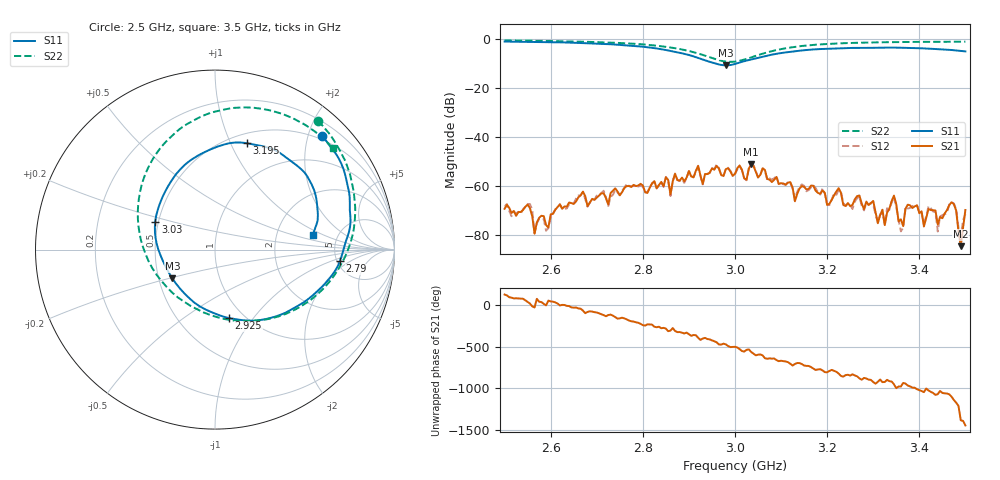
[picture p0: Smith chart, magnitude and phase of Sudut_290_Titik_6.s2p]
# Hz S RI R 50
! CMT, C1220, 16058040, 17.2.0/1
! Date: 15/08/2018 10:19:45
! Data: Format (Calibration Info)
! Freq  S11: Re/Im (F2)  S21: Re/Im (F2)  S12: Re/Im (F2)  S22: Re/Im (F2)
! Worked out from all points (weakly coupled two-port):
!   201 points, 2.5 GHz to 3.5 GHz, reference 50 ohm
!   highest |S21| = -51.16 dB at 3.035 GHz (marker M1); lowest = -84.4 dB at 3.49 GHz (marker M2)
!   lowest |S11| = -10.9 dB at 2.98 GHz (marker M3), VSWR 1.80, Z = 29.5 - j10.3 ohm
!   |S11| at or under -10 dB: 2.955 GHz to 3.005 GHz (49.81 MHz wide, 1.67 % of centre)
!   |S22| runs from -9.4 to -0.7 dB; largest |S21 - S12| = 0.00019
!   S11 on the Smith chart (normalised r, x): 2.5 GHz: 0.43, +2.24; 2.79 GHz: 5.28, -1.34; 2.925 GHz: 0.85, -0.77; 3.03 GHz: 0.48, +0.17; 3.195 GHz: 0.60, +1.15; 3.5 GHz: 3.25, +0.76
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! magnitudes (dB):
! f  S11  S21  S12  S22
! 2.5 GHz  -1.2  -69.2  -68.3  -0.7
! 2.555 GHz  -1.3  -68.9  -67.3  -0.8
! 2.565 GHz  -1.3  -79.3  -79.2  -0.9
! 2.67 GHz  -1.8  -62.2  -62.3  -1.2
! 2.79 GHz  -3.1  -59.7  -60.2  -2.2
! 2.835 GHz  -4.1  -59.5  -59.5  -3.0
! 2.925 GHz  -8.2  -55.6  -55.9  -6.3
! 2.98 GHz  -10.9  -53.1  -53.0  -9.3
! 3 GHz  -10.3  -55.0  -55.1  -9.4
! 3.03 GHz  -8.7  -52.8  -52.8  -7.9
! 3.035 GHz  -8.5  -51.2  -51.2  -7.6
! 3.13 GHz  -5.1  -66.1  -65.1  -3.4
! 3.17 GHz  -4.4  -59.8  -59.6  -2.6
! 3.195 GHz  -4.2  -62.7  -63.1  -2.2
! 3.335 GHz  -3.6  -69.1  -69.7  -1.4
! 3.345 GHz  -3.6  -63.8  -64.4  -1.4
! 3.36 GHz  -3.7  -73.5  -78.4  -1.4
! 3.42 GHz  -4.1  -69.3  -68.1  -1.3
! 3.44 GHz  -4.3  -75.6  -78.4  -1.3
! 3.47 GHz  -4.6  -66.5  -66.6  -1.3
! 3.49 GHz  -5.0  -84.4  -80.2  -1.3
! 3.5 GHz  -5.2  -69.7  -71.4  -1.3
